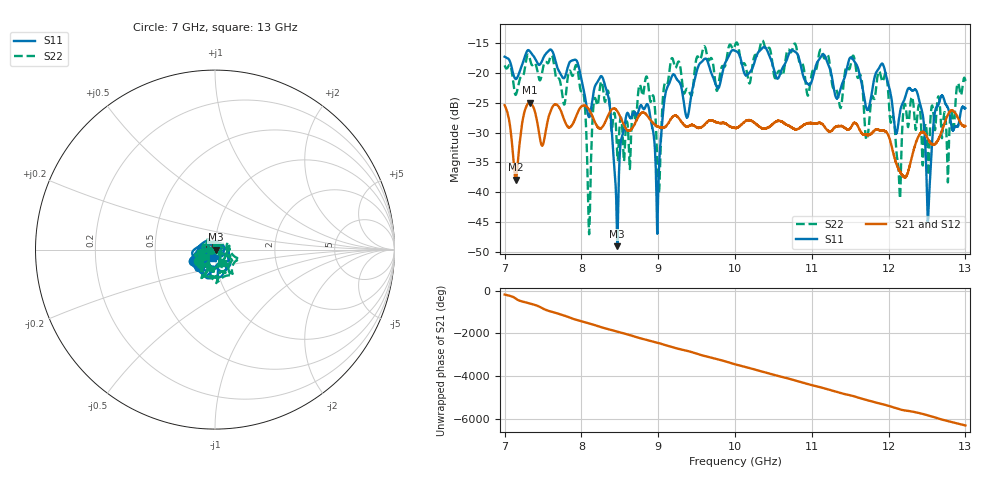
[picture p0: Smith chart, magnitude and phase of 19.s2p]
[Version] 2.0
! Rohde & Schwarz Vector Network Analyzer
! Rohde-Schwarz,ZNL20-2Port,1323001220200009,1.71.1.10-23.02.1.238
! Port Assignments:
! Nominal Port -> Actual Test Port
!  1 -> 1
!  2 -> 2
! Created: GMT+3 2024-09-24 15:15:39
# Hz S DB R 50
[Number of Ports] 2
[Two-Port Data Order] 21_12
! freq[Hz]  S11[mag dB]  S11[ang]  S21[mag dB]  S21[ang]  S12[mag dB]  S12[ang]  S22[mag dB]  S22[ang]
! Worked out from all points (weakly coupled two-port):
!   6001 points, 7 GHz to 13 GHz, reference 50 ohm
!   highest |S21| = -25.01 dB at 7.325 GHz (marker M1); lowest = -37.9 dB at 7.146 GHz (marker M2)
!   lowest |S11| = -49.0 dB at 8.467 GHz (marker M3), VSWR 1.01, Z = 50.3 - j0.127 ohm
!   |S11| at or under -10 dB: start of sweep to end of sweep
!   |S22| runs from -47.0 to -14.6 dB; largest |S21 - S12| = 0.00073
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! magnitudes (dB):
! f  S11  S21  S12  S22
! 7 GHz  -17.3  -25.4  -25.4  -18.8
! 7.146 GHz  -21.0  -37.9  -37.8  -23.7
! 7.325 GHz  -16.3  -25.0  -25.0  -17.5
! 8 GHz  -21.1  -25.6  -25.6  -23.1
! 8.099 GHz  -27.4  -26.1  -26.1  -46.7
! 8.255 GHz  -20.6  -29.3  -29.3  -21.5
! 8.467 GHz  -49.0  -26.4  -26.4  -33.9
! 8.578 GHz  -27.6  -29.3  -29.3  -29.3
! 8.776 GHz  -25.5  -26.8  -26.8  -22.5
! 8.938 GHz  -30.1  -28.5  -28.5  -23.9
! 9 GHz  -39.9  -29.0  -29.0  -38.8
! 9.176 GHz  -20.7  -27.6  -27.6  -17.6
! 10 GHz  -16.3  -29.2  -29.2  -15.4
! 11 GHz  -21.4  -28.4  -28.4  -20.1
! 12 GHz  -22.1  -30.6  -30.6  -24.2
! 12.13 GHz  -27.7  -36.2  -36.2  -37.3
! 12.21 GHz  -24.5  -37.5  -37.5  -25.3
! 12.37 GHz  -23.4  -31.1  -31.1  -27.1
! 12.52 GHz  -43.4  -31.2  -31.2  -37.2
! 12.64 GHz  -25.6  -31.4  -31.4  -24.5
! 12.77 GHz  -25.9  -27.0  -27.0  -37.8
! 13 GHz  -25.9  -28.9  -28.9  -21.4
